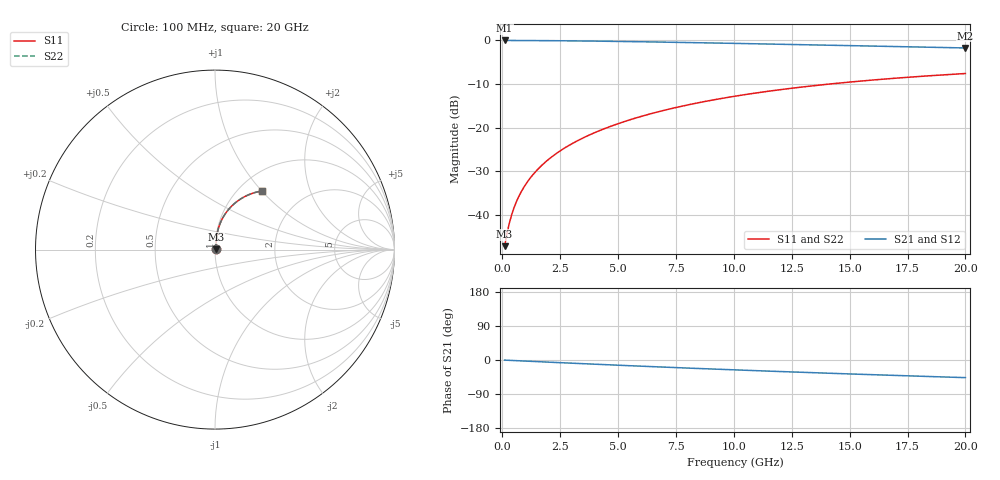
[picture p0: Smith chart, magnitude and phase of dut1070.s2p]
! Touchstone file exported from HFSS 2024.1.0
!  File:  C:/UserFiles/LocalFiles/RDL_TSV_Batchsim/temp_RDL_top_1070_1780045178.aedt
!  Generated:  05:02:06 PM May 29, 2026
!  Design:  RDL_top
!  Project:  temp_RDL_top_1070_1780045178
!  Setup:  Setup1
!  Solution:  Sweep
! Variables:
!  dtsv = 10.80580581um
!  hbump = 3um
!  htsv = 81.22um
!  ldown = 100um
!  lrdl = 639.87um
!  p = 40
!  p1 = 54.65um
!  rhole = 1um
!  t = 450um
!  tdown = 3.915915916um
!  trdl = 2.88um
!  wdown = 15.38538539um
!  wrdl = 22.69um
# GHz S MA R 50.000000
! Terminal data exported
! Port[1] = Box2_T1
! Port[2] = Box2_T2
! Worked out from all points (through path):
!   200 points, 100 MHz to 20 GHz, reference 50 ohm
!   highest |S21| = -0.03 dB at 100 MHz (marker M1); lowest = -1.8 dB at 20 GHz (marker M2)
!   group delay of S21, straight-line fit = 6.42 ps
!   lowest |S11| = -47.2 dB at 100 MHz (marker M3), VSWR 1.01, Z = 50.4 + j0.237 ohm
!   |S11| at or under -10 dB: start of sweep to 14.16 GHz
!   |S22| runs from -47.2 to -7.6 dB; largest |S21 - S12| = 3e-15
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0.1  0.004385 32.5  0.9963 -0.3  0.9963 -0.3  0.004385 32.5
! Gamma 0 0 0 0
! Port Impedance 50 0 50 0
0.2  0.006035 50.4  0.9961 -0.6  0.9961 -0.6  0.006035 50.4
0.3  0.007962 59.6  0.9959 -0.9  0.9959 -0.9  0.007962 59.6
0.4  0.009954 65.0  0.9957 -1.2  0.9957 -1.2  0.009954 65.0
0.5  0.01196 68.6  0.9954 -1.5  0.9954 -1.5  0.01196 68.6
0.6  0.01398 71.2  0.9952 -1.7  0.9952 -1.7  0.01398 71.2
0.8  0.01804 74.8  0.9948 -2.3  0.9948 -2.3  0.01804 74.8
1.1  0.02423 78.0  0.994 -3.1  0.994 -3.1  0.02423 78.0
1.3  0.0284 79.4  0.9935 -3.7  0.9935 -3.7  0.0284 79.4
1.6  0.03474 80.8  0.9925 -4.6  0.9925 -4.6  0.03474 80.8
2.1  0.04546 82.1  0.9905 -6.0  0.9905 -6.0  0.04546 82.1
2.7  0.05856 82.7  0.9876 -7.6  0.9876 -7.6  0.05857 82.7
3.5  0.07643 82.7  0.9828 -9.8  0.9828 -9.8  0.07643 82.7
4.2  0.09239 82.2  0.9778 -11.7  0.9778 -11.7  0.09239 82.3
5  0.1109 81.4  0.9715 -13.8  0.9715 -13.8  0.111 81.4
6.8  0.1534 78.6  0.9553 -18.4  0.9553 -18.4  0.1534 78.6
8.4  0.1911 75.5  0.9395 -22.2  0.9395 -22.2  0.1911 75.5
10.1  0.2302 71.9  0.9218 -26.2  0.9218 -26.2  0.2303 71.9
11.7  0.2656 68.4  0.9048 -29.8  0.9048 -29.8  0.2656 68.4
13.4  0.3011 64.8  0.8866 -33.5  0.8866 -33.5  0.3012 64.8
16.7  0.3633 57.9  0.8515 -40.2  0.8515 -40.2  0.3634 57.9
20  0.4164 51.5  0.8174 -46.5  0.8174 -46.5  0.4165 51.5
